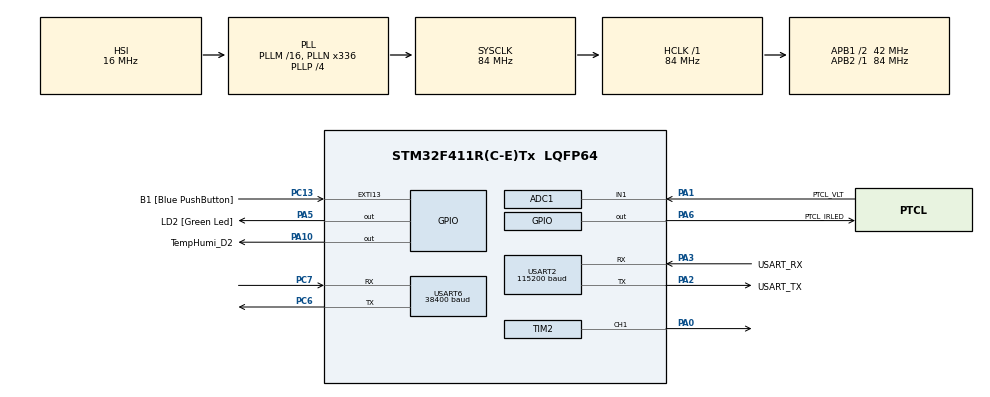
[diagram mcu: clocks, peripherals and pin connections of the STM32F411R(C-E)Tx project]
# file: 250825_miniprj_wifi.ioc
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ADC1.Channel-1\#ChannelRegularConversion=ADC_CHANNEL_1
ADC1.NbrOfConversionFlag=1
ADC1.Rank-1\#ChannelRegularConversion=1
ADC1.SamplingTime-1\#ChannelRegularConversion=ADC_SAMPLETIME_15CYCLES
ADC1.ScanConvMode=ENABLE
ADC1.master=1
Mcu.Family=STM32F4
Mcu.Name=STM32F411R(C-E)Tx
Mcu.Package=LQFP64
NVIC.PriorityGroup=NVIC_PRIORITYGROUP_4
NVIC.TIM1_TRG_COM_TIM11_IRQn=true\:15\:0\:false\:false\:true\:false\:true\:true
NVIC.TIM3_IRQn=true\:0\:0\:false\:false\:true\:true\:true\:true
NVIC.USART2_IRQn=true\:0\:0\:false\:false\:true\:true\:true\:true
NVIC.USART6_IRQn=true\:0\:0\:false\:false\:true\:true\:true\:true
PA0-WKUP.Signal=S_TIM2_CH1_ETR
PA1.GPIO_Label=PTCL_VLT
PA1.Signal=ADCx_IN1
PA10.GPIO_Label=TempHumi_D2
PA10.Signal=GPIO_Output
PA13.GPIO_Label=TMS
PA13.Mode=Serial_Wire
PA13.Signal=SYS_JTMS-SWDIO
PA14.GPIO_Label=TCK
PA14.Mode=Serial_Wire
PA14.Signal=SYS_JTCK-SWCLK
PA2.GPIO_Label=USART_TX
PA2.Mode=Asynchronous
PA2.Signal=USART2_TX
PA3.GPIO_Label=USART_RX
PA3.Mode=Asynchronous
PA3.Signal=USART2_RX
PA5.GPIO_Label=LD2 [Green Led]
PA5.Signal=GPIO_Output
PA6.GPIO_Label=PTCL_IRLED
PA6.GPIO_PuPd=GPIO_PULLUP
PA6.Signal=GPIO_Output
PB3.GPIO_Label=SWO
PB3.Signal=SYS_JTDO-SWO
PC13-ANTI_TAMP.GPIO_Label=B1 [Blue PushButton]
PC13-ANTI_TAMP.GPIO_ModeDefaultEXTI=GPIO_MODE_IT_FALLING
PC13-ANTI_TAMP.Signal=GPXTI13
PC14-OSC32_IN.Mode=LSE-External-Oscillator
PC14-OSC32_IN.Signal=RCC_OSC32_IN
PC15-OSC32_OUT.Mode=LSE-External-Oscillator
PC15-OSC32_OUT.Signal=RCC_OSC32_OUT
PC6.Mode=Asynchronous
PC6.Signal=USART6_TX
PC7.Mode=Asynchronous
PC7.Signal=USART6_RX
PH0\ -\ OSC_IN.Mode=HSE-External-Clock-Source
PH0\ -\ OSC_IN.Signal=RCC_OSC_IN
PH1\ -\ OSC_OUT.Mode=HSE-External-Clock-Source
PH1\ -\ OSC_OUT.Signal=RCC_OSC_OUT
ProjectManager.HeapSize=0x200
ProjectManager.StackSize=0x400
ProjectManager.TargetToolchain=STM32CubeIDE
RCC.48MHZClocksFreq_Value=84000000
RCC.AHBFreq_Value=84000000
RCC.APB1CLKDivider=RCC_HCLK_DIV2
RCC.APB1Freq_Value=42000000
RCC.APB1TimFreq_Value=84000000
RCC.APB2Freq_Value=84000000
RCC.APB2TimFreq_Value=84000000
RCC.CortexFreq_Value=84000000
RCC.FLatency-AdvancedSettings=FLASH_LATENCY_2
RCC.HCLKFreq_Value=84000000
RCC.HSE_VALUE=8000000
RCC.HSI_VALUE=16000000
RCC.PLLN=336
RCC.PLLP=RCC_PLLP_DIV4
RCC.SYSCLKFreq_VALUE=84000000
RCC.SYSCLKSource=RCC_SYSCLKSOURCE_PLLCLK
RCC.VCOOutputFreq_Value=336000000
SH.ADCx_IN1.0=ADC1_IN1,IN1
SH.S_TIM2_CH1_ETR.0=TIM2_CH1,PWM Generation1 CH1
TIM1.Prescaler=84 - 1
TIM2.AutoReloadPreload=TIM_AUTORELOAD_PRELOAD_ENABLE
TIM2.Channel-PWM\ Generation1\ CH1=TIM_CHANNEL_1
TIM2.OCFastMode_PWM-PWM\ Generation1\ CH1=TIM_OCFAST_ENABLE
TIM2.Period=100 - 1
TIM2.Prescaler=84 - 1
TIM2.Pulse-PWM\ Generation1\ CH1=60 - 1
TIM3.AutoReloadPreload=TIM_AUTORELOAD_PRELOAD_ENABLE
TIM3.Period=1000 - 1
TIM3.Prescaler=84 - 1
USART2.BaudRate=115200
USART2.VirtualMode=VM_ASYNC
USART6.BaudRate=38400
USART6.VirtualMode=VM_ASYNC
VP_TIM1_VS_ClockSourceINT.Mode=Internal
VP_TIM2_VS_ClockSourceINT.Mode=Internal
VP_TIM3_VS_ClockSourceINT.Mode=Internal
board=NUCLEO-F411RE

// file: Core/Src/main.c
/* USER CODE BEGIN Header */
/**
  ******************************************************************************
  * @file           : main.c
  * @brief          : Main program body
  ******************************************************************************
  * @attention
  *
  * Copyright (c) 2025 STMicroelectronics.
  * All rights reserved.
  *
  * This software is licensed under terms that can be found in the LICENSE file
  * in the root directory of this software component.
  * If no LICENSE file comes with this software, it is provided AS-IS.
  *
  ******************************************************************************
  */
/* USER CODE END Header */
#include "main.h"

/* USER CODE BEGIN Includes */
#include <stdio.h>
#include <stdlib.h>
#include <string.h>

#include "esp.h"

#include "Headers.h"
/* USER CODE END Includes */

/* USER CODE BEGIN PD */
#ifdef __GNUC__
/* With GCC, small printf (option LD Linker->Libraries->Small printf
   set to 'Yes') calls __io_putchar() */
#define PUTCHAR_PROTOTYPE int __io_putchar(int ch)
#else
#define PUTCHAR_PROTOTYPE int fputc(int ch, FILE *f)
#endif /* __GNUC__ */
/* USER CODE END PD */

ADC_HandleTypeDef hadc1;

TIM_HandleTypeDef htim1;
TIM_HandleTypeDef htim2;
TIM_HandleTypeDef htim3;

UART_HandleTypeDef huart2;
UART_HandleTypeDef huart6;

/* USER CODE BEGIN PV */
extern cb_data_t cb_data;

uint8_t rx2char;
extern volatile unsigned char rx2Flag;
extern volatile char rx2Data[50];

char buffer[BUFFER_MAX_COUNT];
char buffer_send[BUFFER_MAX_COUNT] = { 0 };

volatile int tim3Flag1Sec=1;
volatile unsigned int tim3Sec;

E_MODE e_mode = E_MONITORING;

volatile int8_t fan_flag = 0;
volatile uint8_t fan_monitoring_switch_flag = 0;

float voltage = 0.f;
float particle_density_w = 0.f;		// last final value
float particle_density_x = 0.f;		// n-2 value
float particle_density_y = 0.f;		// n-1 value
float particle_density_z = 0.f;		// n value
uint32_t vo_value;
uint32_t adc_value = 0;

SENSOR_DATA sensor_data;
/* USER CODE END PV */

void SystemClock_Config(void);
static void MX_GPIO_Init(void);
static void MX_USART2_UART_Init(void);
static void MX_USART6_UART_Init(void);
static void MX_TIM3_Init(void);
static void MX_TIM1_Init(void);
static void MX_TIM2_Init(void);
static void MX_ADC1_Init(void);
/* USER CODE BEGIN PFP */
void delay_us(uint16_t _us);

void set_dht11_pin_output();
void set_dht11_pin_input();
uint8_t dht11_Read(uint8_t *temp, uint8_t *hum);

void fan_pwm_set_percent(uint8_t _pct);

void esp_event(char * recvBuf);
void print_log(char * _msg);
void print_handle_error(char * _msg);
/* USER CODE END PFP */

int main(void)
{

  /* USER CODE BEGIN 1 */
	int ret = 0;
  /* USER CODE END 1 */

  /* MCU Configuration--------------------------------------------------------*/

  /* Reset of all peripherals, Initializes the Flash interface and the Systick. */
  HAL_Init();

  /* Configure the system clock */
  SystemClock_Config();

  /* Initialize all configured peripherals */
  MX_GPIO_Init();
  MX_USART2_UART_Init();
  MX_USART6_UART_Init();
  MX_TIM3_Init();
  MX_TIM1_Init();
  MX_TIM2_Init();
  MX_ADC1_Init();
  /* USER CODE BEGIN 2 */
	HAL_TIM_Base_Start(&htim1);
	HAL_TIM_PWM_Start(&htim2, TIM_CHANNEL_1);

	print_log("Start main() = wifi\r\n");
	ret |= drv_uart_init();
	ret |= drv_esp_init();
	if (ret != 0)
		print_handle_error("Esp response error\r\n");

	AiotClient_Init();
	if (HAL_TIM_Base_Start_IT(&htim3) != HAL_OK)
		print_handle_error(NULL);
  /* USER CODE END 2 */

  /* Infinite loop */
  /* USER CODE BEGIN WHILE */
	while (1) {
		if (strstr((char*) cb_data.buf, "+IPD")
				&& cb_data.buf[cb_data.length - 1] == '\n') {
			//?��?��?���??  \r\n+IPD,15:[KSH_LIN]HELLO\n
			strcpy(buffer, strchr((char*) cb_data.buf, '['));
			memset(cb_data.buf, 0x0, sizeof(cb_data.buf));
			cb_data.length = 0;
			esp_event(buffer);
		}
		if (rx2Flag) {
			printf("recv2 : %s\r\n", rx2Data);
			rx2Flag = 0;
		}

		if (tim3Flag1Sec)	//1초에 한번
		{
			tim3Flag1Sec = 0;
			if (!(tim3Sec % 10)) //10초에 한번
			{
				if (esp_get_status() != 0) {
					printf("server connecting ...\r\n");
					esp_client_conn();
				}
			}
			//			printf("tim3Sec : %d\r\n",tim3Sec);
			//			sprintf(sendBuf,"[%s]%s@%s\n","0","TESTCMD","TESTARG");
			//			esp_send_data(sendBuf);

			if (e_mode == E_MANUAL && fan_monitoring_switch_flag > 0)
			{
				fan_monitoring_switch_flag++;

				if (fan_monitoring_switch_flag > 60)
				{
					e_mode = E_MONITORING;
					fan_monitoring_switch_flag = 0;
				}
			}

			if (tim3Sec % 5 == 4)
			{
				// gp2y : ptcl
				HAL_GPIO_WritePin(GPIOA, PTCL_IRLED_Pin, GPIO_PIN_RESET);
				delay_us(280);

				HAL_ADC_Start(&hadc1);
				HAL_ADC_PollForConversion(&hadc1, 100);
				adc_value = HAL_ADC_GetValue(&hadc1);
				HAL_ADC_Stop(&hadc1);

				//delay_us(40);
				HAL_GPIO_WritePin(GPIOA, PTCL_IRLED_Pin, GPIO_PIN_SET);
				//delay_us(9680);

				voltage = adc_value * 3.3 / 4095.0;
				//float offset = 0.3f * (3.3f / 5.0f);
				//float scale = 0.005f * (3.3f / 5.0f);
				//particle_density = (voltage - offset) / scale;
				particle_density_z = (voltage - 0.198) / 0.0033;
				if(particle_density_z < 0)	particle_density_z = 0;

				// dht11 : temp, humi
				uint8_t temp, humi;
				uint8_t result = dht11_Read(&temp, &humi);

				// sensor data
				if (particle_density_y < 0.0001f) particle_density_y = particle_density_z;
				float temp_particle_density = median3_float(particle_density_x, particle_density_y, particle_density_z);

				sensor_data.ptcl = temp_particle_density * 0.65f + particle_density_w * 0.35f;
				particle_density_w = sensor_data.ptcl;
				particle_density_x = particle_density_y;
				particle_density_y = particle_density_z;
				sensor_data.temp = (float)temp;
				sensor_data.humi = (float)humi;

				char msg[50];
				if (result != 0 || temp == 0 || humi == 0)
					;//sprintf(msg, "DHT Error: %d\r\n", result);
				else
				{
					//sprintf(msg, "Ptcl: %.1f Temp: %.1f Humi: %.1f\r\n", (sensor_data.ptcl), (sensor_data.temp), (sensor_data.humi));

					sprintf(buffer_send, "[SENSOR:"SQL_CLN_NAME"]%.1f|%.1f|%.1f\r\n", (sensor_data.ptcl), (sensor_data.temp), (sensor_data.humi));
					esp_send_data(buffer_send);
					print_log(buffer_send);

					// ...
					if (e_mode == E_MONITORING)
					{
						if (fan_flag < 1 && sensor_data.ptcl > 115.f)
						{
							fan_flag = 1;
							fan_pwm_set_percent(100);

							sprintf(msg, "Set Fan Speed: 100\r\n");
							print_log(msg);
						}
						else if (fan_flag > -1 && sensor_data.ptcl < 85.f)
						{
							fan_flag = -1;
							fan_pwm_set_percent(0);

							sprintf(msg, "Set Fan Speed: 0\r\n");
							print_log(msg);
						}

						if (fan_flag == 1 && sensor_data.ptcl < 100.f)
						{
							fan_flag = 0;
							fan_pwm_set_percent(50);

							sprintf(msg, "Set Fan Speed: 50\r\n");
							print_log(msg);
						}
						else if (fan_flag == -1 && sensor_data.ptcl > 100.f)
						{
							fan_flag = 0;
							fan_pwm_set_percent(50);

							sprintf(msg, "Set Fan Speed: 50\r\n");
							print_log(msg);
						}

						/*if (fan_flag == 0)
						{
							fan_pwm_set_percent(50);

							sprintf(msg, "Set Fan Speed: 50\r\n");
							print_log(msg);
						}
						else if (fan_flag == 1)
						{
							fan_pwm_set_percent(100);

							sprintf(msg, "Set Fan Speed: 100\r\n");
							print_log(msg);
						}
						else if (fan_flag == -1)
						{
							fan_pwm_set_percent(0);

							sprintf(msg, "Set Fan Speed: 0\r\n");
							print_log(msg);
						}*/
					}
				}

				//print_log(msg);
			}
		}
    /* USER CODE END WHILE */

	}
}

void SystemClock_Config(void)
{
  RCC_OscInitTypeDef RCC_OscInitStruct = {0};
  RCC_ClkInitTypeDef RCC_ClkInitStruct = {0};

  /** Configure the main internal regulator output voltage
  */
  __HAL_RCC_PWR_CLK_ENABLE();
  __HAL_PWR_VOLTAGESCALING_CONFIG(PWR_REGULATOR_VOLTAGE_SCALE1);

  /** Initializes the RCC Oscillators according to the specified parameters
  * in the RCC_OscInitTypeDef structure.
  */
  RCC_OscInitStruct.OscillatorType = RCC_OSCILLATORTYPE_HSI;
  RCC_OscInitStruct.HSIState = RCC_HSI_ON;
  RCC_OscInitStruct.HSICalibrationValue = RCC_HSICALIBRATION_DEFAULT;
  RCC_OscInitStruct.PLL.PLLState = RCC_PLL_ON;
  RCC_OscInitStruct.PLL.PLLSource = RCC_PLLSOURCE_HSI;
  RCC_OscInitStruct.PLL.PLLM = 16;
  RCC_OscInitStruct.PLL.PLLN = 336;
  RCC_OscInitStruct.PLL.PLLP = RCC_PLLP_DIV4;
  RCC_OscInitStruct.PLL.PLLQ = 4;
  if (HAL_RCC_OscConfig(&RCC_OscInitStruct) != HAL_OK)
  {
    Error_Handler();
  }

  /** Initializes the CPU, AHB and APB buses clocks
  */
  RCC_ClkInitStruct.ClockType = RCC_CLOCKTYPE_HCLK|RCC_CLOCKTYPE_SYSCLK
                              |RCC_CLOCKTYPE_PCLK1|RCC_CLOCKTYPE_PCLK2;
  RCC_ClkInitStruct.SYSCLKSource = RCC_SYSCLKSOURCE_PLLCLK;
  RCC_ClkInitStruct.AHBCLKDivider = RCC_SYSCLK_DIV1;
  RCC_ClkInitStruct.APB1CLKDivider = RCC_HCLK_DIV2;
  RCC_ClkInitStruct.APB2CLKDivider = RCC_HCLK_DIV1;

  if (HAL_RCC_ClockConfig(&RCC_ClkInitStruct, FLASH_LATENCY_2) != HAL_OK)
  {
    Error_Handler();
  }
}

static void MX_ADC1_Init(void)
{

  ADC_ChannelConfTypeDef sConfig = {0};

  /** Configure the global features of the ADC (Clock, Resolution, Data Alignment and number of conversion)
  */
  hadc1.Instance = ADC1;
  hadc1.Init.ClockPrescaler = ADC_CLOCK_SYNC_PCLK_DIV4;
  hadc1.Init.Resolution = ADC_RESOLUTION_12B;
  hadc1.Init.ScanConvMode = ENABLE;
  hadc1.Init.ContinuousConvMode = DISABLE;
  hadc1.Init.DiscontinuousConvMode = DISABLE;
  hadc1.Init.ExternalTrigConvEdge = ADC_EXTERNALTRIGCONVEDGE_NONE;
  hadc1.Init.ExternalTrigConv = ADC_SOFTWARE_START;
  hadc1.Init.DataAlign = ADC_DATAALIGN_RIGHT;
  hadc1.Init.NbrOfConversion = 1;
  hadc1.Init.DMAContinuousRequests = DISABLE;
  hadc1.Init.EOCSelection = ADC_EOC_SINGLE_CONV;
  if (HAL_ADC_Init(&hadc1) != HAL_OK)
  {
    Error_Handler();
  }

  /** Configure for the selected ADC regular channel its corresponding rank in the sequencer and its sample time.
  */
  sConfig.Channel = ADC_CHANNEL_1;
  sConfig.Rank = 1;
  sConfig.SamplingTime = ADC_SAMPLETIME_15CYCLES;
  if (HAL_ADC_ConfigChannel(&hadc1, &sConfig) != HAL_OK)
  {
    Error_Handler();
  }

}

static void MX_TIM1_Init(void)
{

  TIM_ClockConfigTypeDef sClockSourceConfig = {0};
  TIM_MasterConfigTypeDef sMasterConfig = {0};

  htim1.Instance = TIM1;
  htim1.Init.Prescaler = 84 - 1;
  htim1.Init.CounterMode = TIM_COUNTERMODE_UP;
  htim1.Init.Period = 65535;
  htim1.Init.ClockDivision = TIM_CLOCKDIVISION_DIV1;
  htim1.Init.RepetitionCounter = 0;
  htim1.Init.AutoReloadPreload = TIM_AUTORELOAD_PRELOAD_DISABLE;
  if (HAL_TIM_Base_Init(&htim1) != HAL_OK)
  {
    Error_Handler();
  }
  sClockSourceConfig.ClockSource = TIM_CLOCKSOURCE_INTERNAL;
  if (HAL_TIM_ConfigClockSource(&htim1, &sClockSourceConfig) != HAL_OK)
  {
    Error_Handler();
  }
  sMasterConfig.MasterOutputTrigger = TIM_TRGO_RESET;
  sMasterConfig.MasterSlaveMode = TIM_MASTERSLAVEMODE_DISABLE;
  if (HAL_TIMEx_MasterConfigSynchronization(&htim1, &sMasterConfig) != HAL_OK)
  {
    Error_Handler();
  }

}

static void MX_TIM2_Init(void)
{

  TIM_ClockConfigTypeDef sClockSourceConfig = {0};
  TIM_MasterConfigTypeDef sMasterConfig = {0};
  TIM_OC_InitTypeDef sConfigOC = {0};

  htim2.Instance = TIM2;
  htim2.Init.Prescaler = 84 - 1;
  htim2.Init.CounterMode = TIM_COUNTERMODE_UP;
  htim2.Init.Period = 100 - 1;
  htim2.Init.ClockDivision = TIM_CLOCKDIVISION_DIV1;
  htim2.Init.AutoReloadPreload = TIM_AUTORELOAD_PRELOAD_ENABLE;
  if (HAL_TIM_Base_Init(&htim2) != HAL_OK)
  {
    Error_Handler();
  }
  sClockSourceConfig.ClockSource = TIM_CLOCKSOURCE_INTERNAL;
  if (HAL_TIM_ConfigClockSource(&htim2, &sClockSourceConfig) != HAL_OK)
  {
    Error_Handler();
  }
  if (HAL_TIM_PWM_Init(&htim2) != HAL_OK)
  {
    Error_Handler();
  }
  sMasterConfig.MasterOutputTrigger = TIM_TRGO_RESET;
  sMasterConfig.MasterSlaveMode = TIM_MASTERSLAVEMODE_DISABLE;
  if (HAL_TIMEx_MasterConfigSynchronization(&htim2, &sMasterConfig) != HAL_OK)
  {
    Error_Handler();
  }
  sConfigOC.OCMode = TIM_OCMODE_PWM1;
  sConfigOC.Pulse = 60 - 1;
  sConfigOC.OCPolarity = TIM_OCPOLARITY_HIGH;
  sConfigOC.OCFastMode = TIM_OCFAST_ENABLE;
  if (HAL_TIM_PWM_ConfigChannel(&htim2, &sConfigOC, TIM_CHANNEL_1) != HAL_OK)
  {
    Error_Handler();
  }
  HAL_TIM_MspPostInit(&htim2);

}

static void MX_TIM3_Init(void)
{

  TIM_ClockConfigTypeDef sClockSourceConfig = {0};
  TIM_MasterConfigTypeDef sMasterConfig = {0};

  htim3.Instance = TIM3;
  htim3.Init.Prescaler = 84 - 1;
  htim3.Init.CounterMode = TIM_COUNTERMODE_UP;
  htim3.Init.Period = 1000 - 1;
  htim3.Init.ClockDivision = TIM_CLOCKDIVISION_DIV1;
  htim3.Init.AutoReloadPreload = TIM_AUTORELOAD_PRELOAD_ENABLE;
  if (HAL_TIM_Base_Init(&htim3) != HAL_OK)
  {
    Error_Handler();
  }
  sClockSourceConfig.ClockSource = TIM_CLOCKSOURCE_INTERNAL;
  if (HAL_TIM_ConfigClockSource(&htim3, &sClockSourceConfig) != HAL_OK)
  {
    Error_Handler();
  }
  sMasterConfig.MasterOutputTrigger = TIM_TRGO_RESET;
  sMasterConfig.MasterSlaveMode = TIM_MASTERSLAVEMODE_DISABLE;
  if (HAL_TIMEx_MasterConfigSynchronization(&htim3, &sMasterConfig) != HAL_OK)
  {
    Error_Handler();
  }

}

static void MX_USART2_UART_Init(void)
{

  huart2.Instance = USART2;
  huart2.Init.BaudRate = 115200;
  huart2.Init.WordLength = UART_WORDLENGTH_8B;
  huart2.Init.StopBits = UART_STOPBITS_1;
  huart2.Init.Parity = UART_PARITY_NONE;
  huart2.Init.Mode = UART_MODE_TX_RX;
  huart2.Init.HwFlowCtl = UART_HWCONTROL_NONE;
  huart2.Init.OverSampling = UART_OVERSAMPLING_16;
  if (HAL_UART_Init(&huart2) != HAL_OK)
  {
    Error_Handler();
  }

}

static void MX_USART6_UART_Init(void)
{

  huart6.Instance = USART6;
  huart6.Init.BaudRate = 38400;
  huart6.Init.WordLength = UART_WORDLENGTH_8B;
  huart6.Init.StopBits = UART_STOPBITS_1;
  huart6.Init.Parity = UART_PARITY_NONE;
  huart6.Init.Mode = UART_MODE_TX_RX;
  huart6.Init.HwFlowCtl = UART_HWCONTROL_NONE;
  huart6.Init.OverSampling = UART_OVERSAMPLING_16;
  if (HAL_UART_Init(&huart6) != HAL_OK)
  {
    Error_Handler();
  }

}

static void MX_GPIO_Init(void)
{
  GPIO_InitTypeDef GPIO_InitStruct = {0};

  /* GPIO Ports Clock Enable */
  __HAL_RCC_GPIOC_CLK_ENABLE();
  __HAL_RCC_GPIOH_CLK_ENABLE();
  __HAL_RCC_GPIOA_CLK_ENABLE();
  __HAL_RCC_GPIOB_CLK_ENABLE();

  /*Configure GPIO pin Output Level */
  HAL_GPIO_WritePin(GPIOA, LD2_Pin|PTCL_IRLED_Pin|TempHumi_D2_Pin, GPIO_PIN_RESET);

  /*Configure GPIO pin : B1_Pin */
  GPIO_InitStruct.Pin = B1_Pin;
  GPIO_InitStruct.Mode = GPIO_MODE_IT_FALLING;
  GPIO_InitStruct.Pull = GPIO_NOPULL;
  HAL_GPIO_Init(B1_GPIO_Port, &GPIO_InitStruct);

  /*Configure GPIO pins : LD2_Pin TempHumi_D2_Pin */
  GPIO_InitStruct.Pin = LD2_Pin|TempHumi_D2_Pin;
  GPIO_InitStruct.Mode = GPIO_MODE_OUTPUT_PP;
  GPIO_InitStruct.Pull = GPIO_NOPULL;
  GPIO_InitStruct.Speed = GPIO_SPEED_FREQ_LOW;
  HAL_GPIO_Init(GPIOA, &GPIO_InitStruct);

  /*Configure GPIO pin : PTCL_IRLED_Pin */
  GPIO_InitStruct.Pin = PTCL_IRLED_Pin;
  GPIO_InitStruct.Mode = GPIO_MODE_OUTPUT_PP;
  GPIO_InitStruct.Pull = GPIO_PULLUP;
  GPIO_InitStruct.Speed = GPIO_SPEED_FREQ_LOW;
  HAL_GPIO_Init(PTCL_IRLED_GPIO_Port, &GPIO_InitStruct);

}

/* USER CODE BEGIN 4 */
void delay_us(uint16_t _us)
{
	__HAL_TIM_SET_COUNTER(&htim1, 0);            // set TIM1 to zero
	while (__HAL_TIM_GET_COUNTER(&htim1) < _us);  // wait for (_us) micro seconds
}

void set_dht11_pin_output()
{
	GPIO_InitTypeDef GPIO_InitStruct = { 0 };
	GPIO_InitStruct.Pin = TempHumi_D2_Pin;        // DHT 센서가 연결된 핀 지정
	GPIO_InitStruct.Mode = GPIO_MODE_OUTPUT_OD;   // 출력 오픈드레인 모드 설정
	GPIO_InitStruct.Speed = GPIO_SPEED_FREQ_LOW;  // 저속으로 설정 (전송속도 낮음)
	HAL_GPIO_Init(TempHumi_D2_GPIO_Port, &GPIO_InitStruct);
}
void set_dht11_pin_input()
{
	GPIO_InitTypeDef GPIO_InitStruct = { 0 };
	GPIO_InitStruct.Pin = TempHumi_D2_Pin;
	GPIO_InitStruct.Mode = GPIO_MODE_INPUT;       // 입력 모드 설정
	GPIO_InitStruct.Pull = GPIO_NOPULL;           // 내부 풀업이나 풀다운 저항 비활성화
	HAL_GPIO_Init(TempHumi_D2_GPIO_Port, &GPIO_InitStruct);
}
uint8_t dht11_Read(uint8_t *temp, uint8_t *hum) {
    uint8_t bits[5] = {0};
    uint32_t time;

    // MCU -> 센서 신호 송출
    set_dht11_pin_output();
    HAL_GPIO_WritePin(TempHumi_D2_GPIO_Port, TempHumi_D2_Pin, GPIO_PIN_RESET);
    HAL_Delay(20);  // 18~20ms
    HAL_GPIO_WritePin(TempHumi_D2_GPIO_Port, TempHumi_D2_Pin, GPIO_PIN_SET);
    delay_us(40);   // 20~40us

    set_dht11_pin_input();

    // 센서 -> MCU 응답 대기
    time = 0;
    while (HAL_GPIO_ReadPin(TempHumi_D2_GPIO_Port, TempHumi_D2_Pin) == GPIO_PIN_SET) {
        if (++time > 200) return 1; // Timeout
        delay_us(1);
    }

    // LOW(80us) + HIGH(80us)
    time = 0;
    while (HAL_GPIO_ReadPin(TempHumi_D2_GPIO_Port, TempHumi_D2_Pin) == GPIO_PIN_RESET) {
        if (++time > 200) return 2;
        delay_us(1);
    }

    time = 0;
    while (HAL_GPIO_ReadPin(TempHumi_D2_GPIO_Port, TempHumi_D2_Pin) == GPIO_PIN_SET) {
        if (++time > 200) return 3;
        delay_us(1);
    }

    // 40bit 데이터 수신
    for (int i = 0; i < 40; i++) {
        // 1. LOW 시작 비트 감지(50us), LOW가 끝날때까지 대기
        while (HAL_GPIO_ReadPin(TempHumi_D2_GPIO_Port, TempHumi_D2_Pin) == GPIO_PIN_RESET);

        // 2. 중간지점 샘플링 (HIGH: 0이면 약 26~28us, 1이면 70us)
        delay_us(40);
        if (HAL_GPIO_ReadPin(TempHumi_D2_GPIO_Port, TempHumi_D2_Pin)) {
            bits[i / 8] |= (1 << (7 - (i % 8)));
        }
				// 3. HIGH 끝날 때까지 대기
        while (HAL_GPIO_ReadPin(TempHumi_D2_GPIO_Port, TempHumi_D2_Pin) == GPIO_PIN_SET);
    }

    // 체크섬 확인
    uint8_t sum = bits[0] + bits[1] + bits[2] + bits[3];
    if (sum != bits[4]) return 4;

    *hum = bits[0];
    *temp = bits[2];
    return 0; // 성공
}

void fan_pwm_set_percent(uint8_t _pct)
{
	if (_pct > 100)
		_pct = 100; // 최대 100
	__HAL_TIM_SET_COMPARE(&htim2, TIM_CHANNEL_1, _pct); // pwm값 설정 변경
//	if (_pct > 100)
//		_pct = 100;
//	uint32_t period = __HAL_TIM_GET_AUTORELOAD(&htim3);       // ARR
//	__HAL_TIM_SET_COMPARE(&htim3, TIM_CHANNEL_1, (period + 1) * _pct / 100);
}

void esp_event(char * recvBuf)
{
	int i = 0;
	char * pToken;
	char * pCommand[COMMAND_MAX_COUNT] = { 0 };

	char buffer_log[BUFFER_MAX_COUNT] = { 0 };

	buffer[strlen(recvBuf) - 1] = '\0';
	sprintf(buffer_log, "\r\nDebug recv : %s\r\n", recvBuf);
	print_log(buffer_log);

	pToken = strtok(recvBuf, "[:|]");
	while (NULL != pToken)
	{
		pCommand[i] = pToken;
		if (++i >= COMMAND_MAX_COUNT)
			break;
		pToken = strtok(NULL, "[:|]");
	}

	//if (!strcmp(pCommand[0], "LOGIN"))
	if (!strcmp(pCommand[0], "SENSOR"))
	{
		strcpy(buffer_send, recvBuf);
		//sprintf(buffer_send, )
	}
	else if (!strcmp(pCommand[0], "LED"))
	{
		strcpy(buffer_send, recvBuf);
		//sprintf(buffer_send, )
	}
	// [FAN:<from>]80
	else if (!strcmp(pCommand[0], "FAN"))
	{
		e_mode = E_MANUAL;

		fan_monitoring_switch_flag = 1;

		uint16_t pwm_value = atoi(pCommand[2]);
		fan_pwm_set_percent(pwm_value);

		sprintf(buffer_send, "[FAN_OK:%s]\r\n", pCommand[1]);
	}
	else
		return;

	esp_send_data(buffer_send);
	sprintf(buffer_log, "Debug send : %s\r\n", buffer_send);
	//snprintf(buffer_log, sizeof(buffer_log), "Debug send : %s\r\n", buffer_send);
	print_log(buffer_log);
}
void print_log(char * _msg)
{
#if DEBUG == 1
	if (NULL != _msg)
		printf(_msg);
#endif
}
void print_handle_error(char * _msg)
{
#if DEBUG == 1
	if (NULL != _msg)
		printf(_msg);
#endif
	Error_Handler();
}

void HAL_TIM_PeriodElapsedCallback(TIM_HandleTypeDef *htim)		//1ms 마다 호출
{
	if (htim->Instance == TIM3) {
		static int tim3Cnt = 0;
		tim3Cnt++;
		if (tim3Cnt >= 1000) //1ms * 1000 = 1Sec
		{
			tim3Flag1Sec = 1;
			tim3Sec++;
			tim3Cnt = 0;
		}
	}
}

PUTCHAR_PROTOTYPE {
	/* Place your implementation of fputc here */
	/* e.g. write a character to the USART6 and Loop until the end of transmission */
	if (HAL_UART_Transmit(&huart2, (uint8_t*) &ch, 1, 10) == HAL_OK)
		return ch;
	return -1;
//		HAL_UART_Transmit(&huart2, (uint8_t*) &ch, 1, 0xFFFF);
//
//	return ch;
}
/* USER CODE END 4 */

void Error_Handler(void)
{
  __disable_irq();
  while (1)
  {
  }
}
